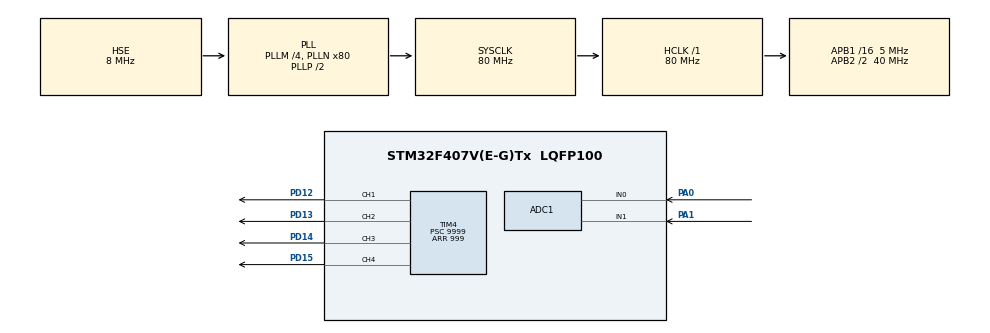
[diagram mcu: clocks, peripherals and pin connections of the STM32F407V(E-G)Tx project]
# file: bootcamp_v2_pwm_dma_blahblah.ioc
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ADC1.Channel-0\#ChannelRegularConversion=ADC_CHANNEL_0
ADC1.Channel-1\#ChannelRegularConversion=ADC_CHANNEL_1
ADC1.ContinuousConvMode=ENABLE
ADC1.NbrOfConversion=2
ADC1.NbrOfConversionFlag=1
ADC1.Rank-0\#ChannelRegularConversion=1
ADC1.Rank-1\#ChannelRegularConversion=2
ADC1.SamplingTime-0\#ChannelRegularConversion=ADC_SAMPLETIME_56CYCLES
ADC1.SamplingTime-1\#ChannelRegularConversion=ADC_SAMPLETIME_56CYCLES
ADC1.ScanConvMode=ENABLE
ADC1.master=1
Dma.ADC1.0.Direction=DMA_PERIPH_TO_MEMORY
Dma.ADC1.0.FIFOMode=DMA_FIFOMODE_DISABLE
Dma.ADC1.0.Instance=DMA2_Stream0
Dma.ADC1.0.MemDataAlignment=DMA_MDATAALIGN_HALFWORD
Dma.ADC1.0.MemInc=DMA_MINC_ENABLE
Dma.ADC1.0.Mode=DMA_NORMAL
Dma.ADC1.0.PeriphDataAlignment=DMA_PDATAALIGN_HALFWORD
Dma.ADC1.0.PeriphInc=DMA_PINC_DISABLE
Dma.ADC1.0.Priority=DMA_PRIORITY_LOW
Dma.Request0=ADC1
Mcu.Family=STM32F4
Mcu.Name=STM32F407V(E-G)Tx
Mcu.Package=LQFP100
NVIC.DMA2_Stream0_IRQn=true\:0\:0\:false\:false\:true\:false\:true
NVIC.PriorityGroup=NVIC_PRIORITYGROUP_0
PA0-WKUP.Signal=ADCx_IN0
PA1.Signal=ADCx_IN1
PA13.Mode=Serial_Wire
PA13.Signal=SYS_JTMS-SWDIO
PA14.Mode=Serial_Wire
PA14.Signal=SYS_JTCK-SWCLK
PD12.Signal=S_TIM4_CH1
PD13.Signal=S_TIM4_CH2
PD14.Signal=S_TIM4_CH3
PD15.Signal=S_TIM4_CH4
PH0-OSC_IN.Mode=HSE-External-Oscillator
PH0-OSC_IN.Signal=RCC_OSC_IN
PH1-OSC_OUT.Mode=HSE-External-Oscillator
PH1-OSC_OUT.Signal=RCC_OSC_OUT
ProjectManager.HeapSize=0x200
ProjectManager.StackSize=0x400
ProjectManager.TargetToolchain=MDK-ARM V5.32
RCC.48MHZClocksFreq_Value=22857142.85714286
RCC.AHBFreq_Value=80000000
RCC.APB1CLKDivider=RCC_HCLK_DIV16
RCC.APB1Freq_Value=5000000
RCC.APB1TimFreq_Value=10000000
RCC.APB2CLKDivider=RCC_HCLK_DIV2
RCC.APB2Freq_Value=40000000
RCC.APB2TimFreq_Value=80000000
RCC.CortexFreq_Value=80000000
RCC.HCLKFreq_Value=80000000
RCC.HSE_VALUE=8000000
RCC.HSI_VALUE=16000000
RCC.PLLM=4
RCC.PLLN=80
RCC.PLLQ=7
RCC.PLLSourceVirtual=RCC_PLLSOURCE_HSE
RCC.SYSCLKFreq_VALUE=80000000
RCC.SYSCLKSource=RCC_SYSCLKSOURCE_PLLCLK
RCC.VCOOutputFreq_Value=160000000
SH.ADCx_IN0.0=ADC1_IN0,IN0
SH.ADCx_IN1.0=ADC1_IN1,IN1
SH.S_TIM4_CH1.0=TIM4_CH1,PWM Generation1 CH1
SH.S_TIM4_CH2.0=TIM4_CH2,PWM Generation2 CH2
SH.S_TIM4_CH3.0=TIM4_CH3,PWM Generation3 CH3
SH.S_TIM4_CH4.0=TIM4_CH4,PWM Generation4 CH4
TIM4.Channel-PWM\ Generation1\ CH1=TIM_CHANNEL_1
TIM4.Channel-PWM\ Generation2\ CH2=TIM_CHANNEL_2
TIM4.Channel-PWM\ Generation3\ CH3=TIM_CHANNEL_3
TIM4.Channel-PWM\ Generation4\ CH4=TIM_CHANNEL_4
TIM4.Period=999
TIM4.Prescaler=9999
TIM4.Pulse-PWM\ Generation1\ CH1=200
TIM4.Pulse-PWM\ Generation2\ CH2=500
TIM4.Pulse-PWM\ Generation3\ CH3=750
TIM4.Pulse-PWM\ Generation4\ CH4=100
VP_TIM4_VS_ClockSourceINT.Mode=Internal
board=STM32F407G-DISC1

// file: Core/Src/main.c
/* USER CODE BEGIN Header */
/**
  ******************************************************************************
  * @file           : main.c
  * @brief          : Main program body
  ******************************************************************************
  * @attention
  *
  * <h2><center>&copy; Copyright (c) 2022 STMicroelectronics.
  * All rights reserved.</center></h2>
  *
  * This software component is licensed by ST under BSD 3-Clause license,
  * the "License"; You may not use this file except in compliance with the
  * License. You may obtain a copy of the License at:
  *                        opensource.org/licenses/BSD-3-Clause
  *
  ******************************************************************************
  */
/* USER CODE END Header */
#include "main.h"

/* USER CODE BEGIN Includes */
	uint32_t adc_buffer[2];
	uint32_t adc_value=0;
	uint32_t adc_value2=0;
	uint32_t V=0;
	void HAL_ADC_ConvCpltCallback(ADC_HandleTypeDef* hadc)
{
  if(hadc->Instance ==ADC1)
	{
		adc_value=adc_buffer[0];
		adc_value2=adc_buffer[1];
		V=1000*adc_value/4095;

	}

}
/* USER CODE END Includes */

ADC_HandleTypeDef hadc1;
DMA_HandleTypeDef hdma_adc1;

TIM_HandleTypeDef htim4;

void SystemClock_Config(void);
static void MX_GPIO_Init(void);
static void MX_DMA_Init(void);
static void MX_ADC1_Init(void);
static void MX_TIM4_Init(void);

int main(void)
{

  /* MCU Configuration--------------------------------------------------------*/

  /* Reset of all peripherals, Initializes the Flash interface and the Systick. */
  HAL_Init();

  /* Configure the system clock */
  SystemClock_Config();

  /* Initialize all configured peripherals */
  MX_GPIO_Init();
  MX_DMA_Init();
  MX_ADC1_Init();
  MX_TIM4_Init();
  /* USER CODE BEGIN 2 */
	HAL_ADC_Start_DMA(&hadc1,adc_buffer,sizeof(adc_buffer));
	HAL_TIM_PWM_Start(&htim4,TIM_CHANNEL_1);
	HAL_TIM_PWM_Start(&htim4,TIM_CHANNEL_2);
	HAL_TIM_PWM_Start(&htim4,TIM_CHANNEL_3);
	HAL_TIM_PWM_Start(&htim4,TIM_CHANNEL_4);

  /* USER CODE END 2 */

  /* Infinite loop */
  while (1)
  {

    /* USER CODE BEGIN 3 */
		__HAL_TIM_PRESCALER(&htim4,(99+(9*V)));
  }
  /* USER CODE END 3 */
}

void SystemClock_Config(void)
{
  RCC_OscInitTypeDef RCC_OscInitStruct = {0};
  RCC_ClkInitTypeDef RCC_ClkInitStruct = {0};

  /** Configure the main internal regulator output voltage
  */
  __HAL_RCC_PWR_CLK_ENABLE();
  __HAL_PWR_VOLTAGESCALING_CONFIG(PWR_REGULATOR_VOLTAGE_SCALE1);
  /** Initializes the RCC Oscillators according to the specified parameters
  * in the RCC_OscInitTypeDef structure.
  */
  RCC_OscInitStruct.OscillatorType = RCC_OSCILLATORTYPE_HSE;
  RCC_OscInitStruct.HSEState = RCC_HSE_ON;
  RCC_OscInitStruct.PLL.PLLState = RCC_PLL_ON;
  RCC_OscInitStruct.PLL.PLLSource = RCC_PLLSOURCE_HSE;
  RCC_OscInitStruct.PLL.PLLM = 4;
  RCC_OscInitStruct.PLL.PLLN = 80;
  RCC_OscInitStruct.PLL.PLLP = RCC_PLLP_DIV2;
  RCC_OscInitStruct.PLL.PLLQ = 7;
  if (HAL_RCC_OscConfig(&RCC_OscInitStruct) != HAL_OK)
  {
    Error_Handler();
  }
  /** Initializes the CPU, AHB and APB buses clocks
  */
  RCC_ClkInitStruct.ClockType = RCC_CLOCKTYPE_HCLK|RCC_CLOCKTYPE_SYSCLK
                              |RCC_CLOCKTYPE_PCLK1|RCC_CLOCKTYPE_PCLK2;
  RCC_ClkInitStruct.SYSCLKSource = RCC_SYSCLKSOURCE_PLLCLK;
  RCC_ClkInitStruct.AHBCLKDivider = RCC_SYSCLK_DIV1;
  RCC_ClkInitStruct.APB1CLKDivider = RCC_HCLK_DIV16;
  RCC_ClkInitStruct.APB2CLKDivider = RCC_HCLK_DIV2;

  if (HAL_RCC_ClockConfig(&RCC_ClkInitStruct, FLASH_LATENCY_2) != HAL_OK)
  {
    Error_Handler();
  }
}

static void MX_ADC1_Init(void)
{

  ADC_ChannelConfTypeDef sConfig = {0};

  /** Configure the global features of the ADC (Clock, Resolution, Data Alignment and number of conversion)
  */
  hadc1.Instance = ADC1;
  hadc1.Init.ClockPrescaler = ADC_CLOCK_SYNC_PCLK_DIV2;
  hadc1.Init.Resolution = ADC_RESOLUTION_12B;
  hadc1.Init.ScanConvMode = ENABLE;
  hadc1.Init.ContinuousConvMode = ENABLE;
  hadc1.Init.DiscontinuousConvMode = DISABLE;
  hadc1.Init.ExternalTrigConvEdge = ADC_EXTERNALTRIGCONVEDGE_NONE;
  hadc1.Init.ExternalTrigConv = ADC_SOFTWARE_START;
  hadc1.Init.DataAlign = ADC_DATAALIGN_RIGHT;
  hadc1.Init.NbrOfConversion = 2;
  hadc1.Init.DMAContinuousRequests = DISABLE;
  hadc1.Init.EOCSelection = ADC_EOC_SINGLE_CONV;
  if (HAL_ADC_Init(&hadc1) != HAL_OK)
  {
    Error_Handler();
  }
  /** Configure for the selected ADC regular channel its corresponding rank in the sequencer and its sample time.
  */
  sConfig.Channel = ADC_CHANNEL_0;
  sConfig.Rank = 1;
  sConfig.SamplingTime = ADC_SAMPLETIME_56CYCLES;
  if (HAL_ADC_ConfigChannel(&hadc1, &sConfig) != HAL_OK)
  {
    Error_Handler();
  }
  /** Configure for the selected ADC regular channel its corresponding rank in the sequencer and its sample time.
  */
  sConfig.Channel = ADC_CHANNEL_1;
  sConfig.Rank = 2;
  if (HAL_ADC_ConfigChannel(&hadc1, &sConfig) != HAL_OK)
  {
    Error_Handler();
  }

}

static void MX_TIM4_Init(void)
{

  TIM_ClockConfigTypeDef sClockSourceConfig = {0};
  TIM_MasterConfigTypeDef sMasterConfig = {0};
  TIM_OC_InitTypeDef sConfigOC = {0};

  htim4.Instance = TIM4;
  htim4.Init.Prescaler = 9999;
  htim4.Init.CounterMode = TIM_COUNTERMODE_UP;
  htim4.Init.Period = 999;
  htim4.Init.ClockDivision = TIM_CLOCKDIVISION_DIV1;
  htim4.Init.AutoReloadPreload = TIM_AUTORELOAD_PRELOAD_DISABLE;
  if (HAL_TIM_Base_Init(&htim4) != HAL_OK)
  {
    Error_Handler();
  }
  sClockSourceConfig.ClockSource = TIM_CLOCKSOURCE_INTERNAL;
  if (HAL_TIM_ConfigClockSource(&htim4, &sClockSourceConfig) != HAL_OK)
  {
    Error_Handler();
  }
  if (HAL_TIM_PWM_Init(&htim4) != HAL_OK)
  {
    Error_Handler();
  }
  sMasterConfig.MasterOutputTrigger = TIM_TRGO_RESET;
  sMasterConfig.MasterSlaveMode = TIM_MASTERSLAVEMODE_DISABLE;
  if (HAL_TIMEx_MasterConfigSynchronization(&htim4, &sMasterConfig) != HAL_OK)
  {
    Error_Handler();
  }
  sConfigOC.OCMode = TIM_OCMODE_PWM1;
  sConfigOC.Pulse = 200;
  sConfigOC.OCPolarity = TIM_OCPOLARITY_HIGH;
  sConfigOC.OCFastMode = TIM_OCFAST_DISABLE;
  if (HAL_TIM_PWM_ConfigChannel(&htim4, &sConfigOC, TIM_CHANNEL_1) != HAL_OK)
  {
    Error_Handler();
  }
  sConfigOC.Pulse = 500;
  if (HAL_TIM_PWM_ConfigChannel(&htim4, &sConfigOC, TIM_CHANNEL_2) != HAL_OK)
  {
    Error_Handler();
  }
  sConfigOC.Pulse = 750;
  if (HAL_TIM_PWM_ConfigChannel(&htim4, &sConfigOC, TIM_CHANNEL_3) != HAL_OK)
  {
    Error_Handler();
  }
  sConfigOC.Pulse = 100;
  if (HAL_TIM_PWM_ConfigChannel(&htim4, &sConfigOC, TIM_CHANNEL_4) != HAL_OK)
  {
    Error_Handler();
  }
  HAL_TIM_MspPostInit(&htim4);

}

static void MX_DMA_Init(void)
{

  /* DMA controller clock enable */
  __HAL_RCC_DMA2_CLK_ENABLE();

  /* DMA interrupt init */
  /* DMA2_Stream0_IRQn interrupt configuration */
  HAL_NVIC_SetPriority(DMA2_Stream0_IRQn, 0, 0);
  HAL_NVIC_EnableIRQ(DMA2_Stream0_IRQn);

}

static void MX_GPIO_Init(void)
{

  /* GPIO Ports Clock Enable */
  __HAL_RCC_GPIOH_CLK_ENABLE();
  __HAL_RCC_GPIOA_CLK_ENABLE();
  __HAL_RCC_GPIOD_CLK_ENABLE();

}

void Error_Handler(void)
{
  __disable_irq();
  while (1)
  {
  }
}

/************************ (C) COPYRIGHT STMicroelectronics *****END OF FILE****/
